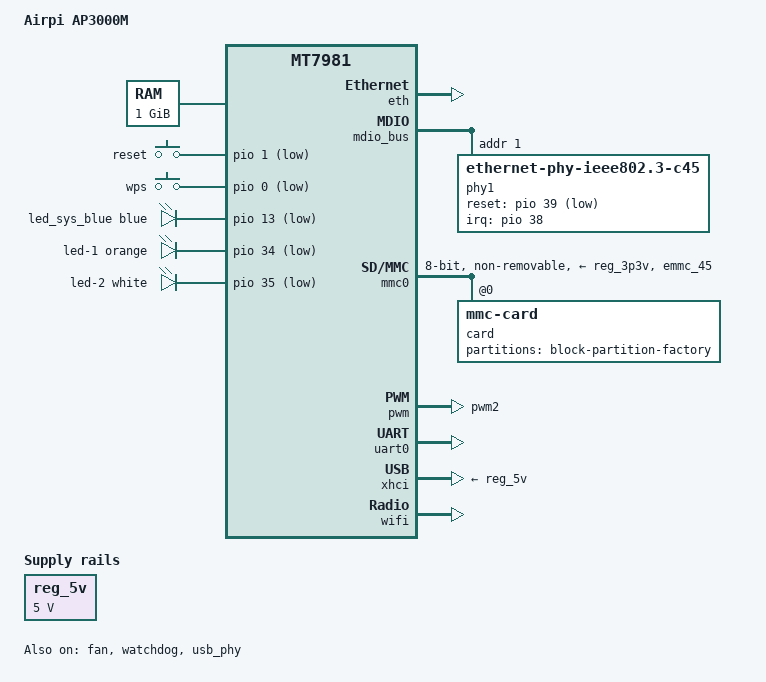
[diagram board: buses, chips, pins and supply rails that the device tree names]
// SPDX-License-Identifier: (GPL-2.0 OR MIT)

/dts-v1/;

#include <dt-bindings/gpio/gpio.h>
#include <dt-bindings/input/input.h>
#include <dt-bindings/leds/common.h>

#include "mt7981b.dtsi"

/ {
	model = "Airpi AP3000M";
	compatible = "airpi,ap3000m", "mediatek,mt7981";

	aliases {
		ethernet0 = &gmac0;
		ethernet1 = &gmac1;
		serial0 = &uart0;

		led-boot = &led_sys_blue;
		led-failsafe = &led_sys_blue;
		led-running = &led_sys_blue;
		led-upgrade = &led_sys_blue;
	};

	chosen {
		stdout-path = "serial0:115200n8";
		/*
		 * 与 H5000M 保持一致的自包含 cmdline：
		 *   - console=ttyS0：earlycon 交接后串口仍要有输出
		 *   - earlycon：uart0 基址 0x11002000（与 dtsi serial@11002000 一致，
		 *     注意 MT7987 侧的 0x11000000 不能照抄到这里）
		 *   - root=PARTLABEL=rootfs：p5 引导层（SquashFS + OverlayFS）
		 *   - rw：p5 挂载即可写，init 的 remount 兜底不必每次触发
		 * 打包期 build/make-sd-image.sh 会用 fdtput 覆写为同一套
		 * FIT_BOOTARGS，这里的值用于 U-Boot 直读 DTB 的备用路径。
		 */
		bootargs = "console=ttyS0,115200n8 earlycon=uart8250,mmio32,0x11002000 root=PARTLABEL=rootfs rootwait rw";
	};

	memory {
		reg = <0 0x40000000 0 0x40000000>;
		device_type = "memory";
	};

	gpio-keys {
		compatible = "gpio-keys";

		reset {
			label = "reset";
			linux,code = <KEY_RESTART>;
			gpios = <&pio 1 GPIO_ACTIVE_LOW>;
		};

		wps {
			label = "wps";
			linux,code = <KEY_WPS_BUTTON>;
			gpios = <&pio 0 GPIO_ACTIVE_LOW>;
		};
	};

	gpio-leds {
		compatible = "gpio-leds";

		led_sys_blue: led-0 {
			function = LED_FUNCTION_STATUS;
			color = <LED_COLOR_ID_BLUE>;
			gpios = <&pio 13 GPIO_ACTIVE_LOW>;
		};

		led-1 {
			function = LED_FUNCTION_WLAN_2GHZ;
			color = <LED_COLOR_ID_ORANGE>;
			gpios = <&pio 34 GPIO_ACTIVE_LOW>;
			linux,default-trigger = "phy0tpt";
		};

		led-2 {
			function = LED_FUNCTION_WLAN_5GHZ;
			color = <LED_COLOR_ID_WHITE>;
			gpios = <&pio 35 GPIO_ACTIVE_LOW>;
			linux,default-trigger = "phy1tpt";
		};
	};

	/*
	 * 3.3V 已在 SoC dtsi 中定义（reg_3p3v，供 eMMC vmmc 与 xhci vusb33 共用），
	 * 这里只补板上 USB 对外供电的 5V。
	 */
	reg_5v: regulator-5v {
		compatible = "regulator-fixed";
		regulator-name = "fixed-5V";
		regulator-min-microvolt = <5000000>;
		regulator-max-microvolt = <5000000>;
		regulator-boot-on;
		regulator-always-on;
	};
};

/*
 * 风扇策略同 H5000M：PWM 完全交给用户空间 fancontrol service 独占，
 * 删除内核 thermal 的 fan cooling-maps，避免内核与用户空间抢同一个 PWM 输出。
 * 关键的 critical / hot trip（125℃ / 120℃）保留在 dtsi，由内核兜底。
 */
&{/thermal-zones/cpu-thermal/cooling-maps} {
	/delete-node/ cpu-active-high;
	/delete-node/ cpu-active-med;
	/delete-node/ cpu-active-low;
};

&eth {
	pinctrl-names = "default";
	pinctrl-0 = <&mdio_pins>;
	status = "okay";

	gmac0: mac@0 {
		compatible = "mediatek,eth-mac";
		reg = <0>;
		phy-mode = "2500base-x";
		phy-handle = <&phy1>;
		/*
		 * 不写死 mac-address：多台同固件设备会 MAC 冲突。
		 * 用户空间按 eMMC CID 派生（见 rootfs-overlay 的 router-init
		 * derive_board_macs()），再用 NetworkManager cloned-mac-address 持久化。
		 */
	};

	gmac1: mac@1 {
		compatible = "mediatek,eth-mac";
		reg = <1>;
		phy-mode = "gmii";
		phy-handle = <&int_gbe_phy>;
	};
};

&mdio_bus {
	/* 外置 2.5G PHY（Realtek RTL8221B 系列），gmac0/eth0 */
	phy1: ethernet-phy@1 {
		compatible = "ethernet-phy-ieee802.3-c45";
		reg = <1>;
		reset-assert-us = <100000>;
		reset-deassert-us = <100000>;
		reset-gpios = <&pio 39 GPIO_ACTIVE_LOW>;
		interrupts = <38 IRQ_TYPE_LEVEL_LOW>;
		interrupt-parent = <&pio>;
		realtek,aldps-enable;
	};
};

&mmc0 {
	pinctrl-names = "default", "state_uhs";
	pinctrl-0 = <&mmc0_pins_default>;
	pinctrl-1 = <&mmc0_pins_uhs>;
	bus-width = <8>;
	cap-mmc-highspeed;
	max-frequency = <52000000>;
	vmmc-supply = <&reg_3p3v>;
	no-sd;
	no-sdio;
	non-removable;
	status = "okay";

	card@0 {
		compatible = "mmc-card";
		reg = <0>;

		block {
			compatible = "block-device";

			partitions {
				block-partition-factory {
					partname = "factory";

					nvmem-layout {
						compatible = "fixed-layout";
						#address-cells = <1>;
						#size-cells = <1>;

						eeprom_factory_0: eeprom@0 {
							reg = <0x0 0x1000>;
						};
					};
				};
			};
		};
	};
};

&pio {
	mmc0_pins_default: mmc0-pins-default {
		mux {
			function = "flash";
			groups = "emmc_45";
		};
	};

	mmc0_pins_uhs: mmc0-pins-uhs {
		mux {
			function = "flash";
			groups = "emmc_45";
		};
	};

	pwm2_pins: pwm2-pins {
		mux {
			function = "pwm";
			groups = "pwm2";
		};
	};
};

&pwm {
	pinctrl-names = "default";
	pinctrl-0 = <&pwm2_pins>;
	status = "okay";
};

&fan {
	pwms = <&pwm 2 40000 0>;
	status = "okay";
};

&uart0 {
	pinctrl-names = "default";
	pinctrl-0 = <&uart0_pins>;
	status = "okay";
};

&watchdog {
	status = "okay";
};

&usb_phy {
	status = "okay";
};

&xhci {
	vbus-supply = <&reg_5v>;
	vusb33-supply = <&reg_3p3v>;
	status = "okay";
};

&wifi {
	nvmem-cells = <&eeprom_factory_0>;
	nvmem-cell-names = "eeprom";
	status = "okay";
};
